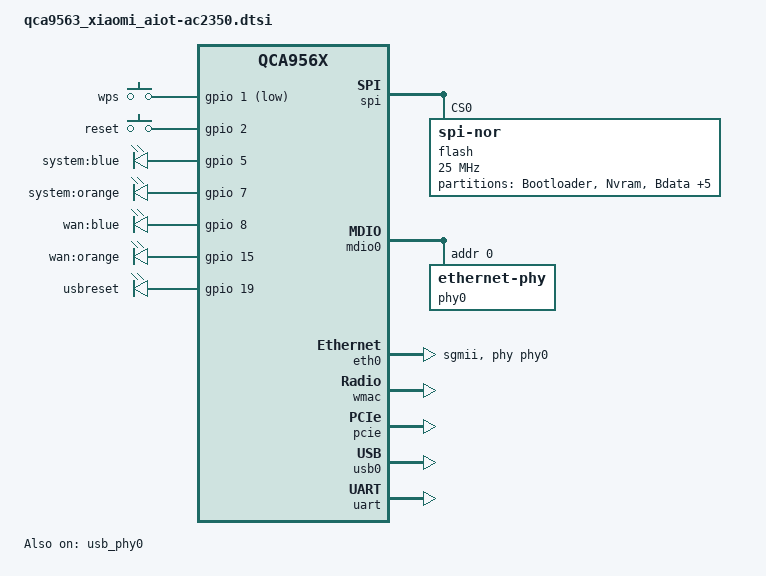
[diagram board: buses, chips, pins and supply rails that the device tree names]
// SPDX-License-Identifier: GPL-2.0-or-later OR MIT

#include "qca956x.dtsi"

#include <dt-bindings/gpio/gpio.h>
#include <dt-bindings/input/input.h>

/ {
	aliases {
		led-boot = &led_system_orange;
		led-failsafe = &led_system_orange;
		led-running = &led_system_blue;
		led-upgrade = &led_system_orange;
	};

	keys {
		compatible = "gpio-keys";

		wps {
			label = "wps";
			linux,code = <KEY_WPS_BUTTON>;
			gpios = <&gpio 1 GPIO_ACTIVE_LOW>;
		};

		reset {
			label = "reset";
			linux,code = <KEY_RESTART>;
			gpios = <&gpio 2 GPIO_ACTIVE_HIGH>;
		};
	};

	leds: leds {
		compatible = "gpio-leds";

		led_system_blue: system_blue {
			label = "system:blue";
			gpios = <&gpio 5 GPIO_ACTIVE_HIGH>;
		};

		led_system_orange: system_orange {
			label = "system:orange";
			gpios = <&gpio 7 GPIO_ACTIVE_HIGH>;
		};

		wan_blue {
			label = "wan:blue";
			gpios = <&gpio 8 GPIO_ACTIVE_HIGH>;
		};

		wan_orange {
			label = "wan:orange";
			gpios = <&gpio 15 GPIO_ACTIVE_HIGH>;
		};

		usbreset {
			label = "usbreset";
			gpios = <&gpio 19 GPIO_ACTIVE_HIGH>;
		};
	};
};

&spi {
	status = "okay";

	flash@0 {
		compatible = "jedec,spi-nor";
		reg = <0>;
		spi-max-frequency = <25000000>;

		partitions {
			compatible = "fixed-partitions";
			#address-cells = <1>;
			#size-cells = <1>;

			bootloader: partition@0 {
				label = "Bootloader";
				reg = <0x0 0x30000>;
				read-only;
			};

			nvram: partition@30000 {
				label = "Nvram";
				reg = <0x30000 0x10000>;
			};

			bdata: partition@40000 {
				label = "Bdata";
				reg = <0x40000 0x10000>;
			};

			crash: partition@50000 {
				label = "crash";
				reg = <0x50000 0x10000>;
			};

			art: partition@60000 {
				label = "art";
				reg = <0x60000 0x10000>;
				read-only;
			};

			cfg_bak: partition@70000 {
				label = "cfg_bak";
				reg = <0x70000 0x20000>;
			};

			overlay: partition@90000 {
				label = "overlay";
				reg = <0x90000 0x170000>;
			};

			firmware: partition@200000 {
				compatible = "denx,uimage";
				label = "firmware";
				reg = <0x200000 0xe00000>;
			};
		};
	};
};

&mdio0 {
	status = "okay";

	phy-mask = <0>;

	phy0: ethernet-phy@0 {
		reg = <0>;
		phy-mode = "sgmii";
		qca,mib-poll-interval = <500>;

		qca,ar8327-initvals = <
			0x04 0x00000080	/* PORT0 PAD MODE CTRL */
			0x7c 0x0000007e	/* PORT0_STATUS */
			>;
	};
};

&eth0 {
	status = "okay";

	pll-data = <0x03000101 0x00000101 0x00001919>;

	mtd-mac-address = <&art 0x0>;

	phy-mode = "sgmii";
	phy-handle = <&phy0>;
};

&wmac {
	status = "okay";

//	mtd-mac-address = <&caldata 0x0>;
//	qca,no-eeprom;

	mtd-cal-data = <&art 0x1000>;
	mtd-mac-address = <&art 0x1002>;
};

&pcie {
	status = "okay";
};

&usb_phy0 {
	status = "okay";
};

&usb0 {
	#address-cells = <1>;
	#size-cells = <0>;
	status = "okay";

	hub_port0: port@1 {
		reg = <1>;
		#trigger-source-cells = <0>;
	};
};

&uart {
	status = "okay";
};
